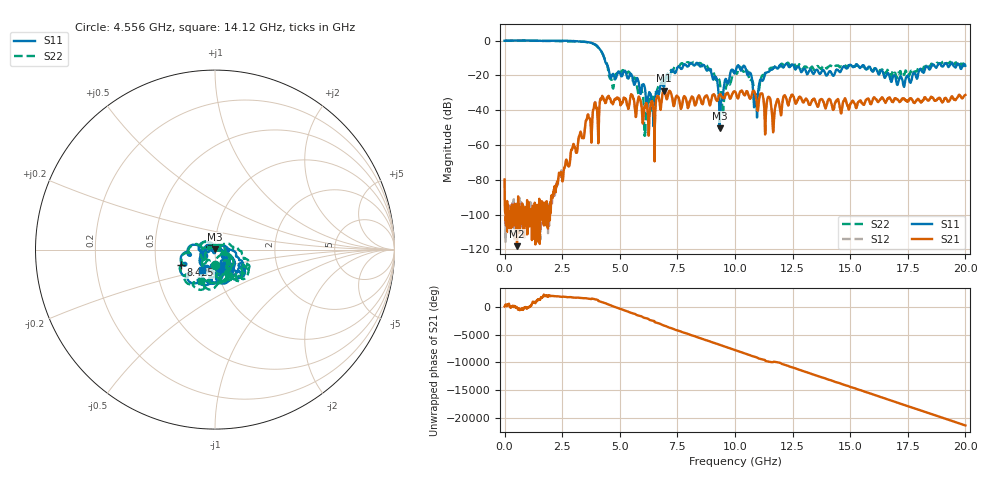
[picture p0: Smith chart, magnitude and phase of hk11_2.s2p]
#  HZ  S  RI  R  50.00
! Rohde & Schwarz Vector Network Analyzer
! Rohde-Schwarz,ZNB20-2Port,1311601062102128,3.60
! Created: UTC 4/29/2024, 3:47:03 PM
! freq[Hz]  re:S11  im:S11  re:S21  im:S21  re:S12  im:S12  re:S22  im:S22
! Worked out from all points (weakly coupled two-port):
!   2007 points, 100 kHz to 20 GHz, reference 50 ohm
!   highest |S21| = -28.70 dB at 6.919 GHz (marker M1); lowest = -118.2 dB at 538.5 MHz (marker M2)
!   lowest |S11| = -50.5 dB at 9.332 GHz (marker M3), VSWR 1.01, Z = 49.8 + j0.214 ohm
!   |S11| at or under -10 dB: 4.327 GHz to end of sweep
!   |S22| runs from -55.0 to 0.1 dB; largest |S21 - S12| = 0.0019
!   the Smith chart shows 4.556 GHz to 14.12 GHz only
!   S11 on the Smith chart (normalised r, x): 4.556 GHz: 1.04, -0.21; 8.425 GHz: 0.67, -0.12; 14.12 GHz: 0.85, -0.19
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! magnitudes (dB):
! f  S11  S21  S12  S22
! 100 kHz  0.0  -79.8  -79.8  0.1
! 538.5 MHz  0.0  -118.2  -105.0  0.0
! 2.263 GHz  0.0  -82.7  -82.4  -0.3
! 3.34 GHz  -0.6  -55.2  -54.9  -0.6
! 4.118 GHz  -4.7  -37.2  -37.4  -4.6
! 4.556 GHz  -19.5  -33.0  -33.0  -21.3
! 5.633 GHz  -25.4  -36.0  -35.9  -21.3
! 6.122 GHz  -31.3  -36.3  -36.3  -46.2
! 6.67 GHz  -30.0  -32.0  -31.9  -26.2
! 6.919 GHz  -26.5  -28.7  -28.8  -20.1
! 8.425 GHz  -13.6  -31.7  -31.6  -13.1
! 9.163 GHz  -20.9  -33.3  -33.2  -22.3
! 9.332 GHz  -50.5  -31.0  -30.9  -23.2
! 9.502 GHz  -28.1  -33.0  -33.0  -38.2
! 10 GHz  -18.6  -29.3  -29.3  -17.7
! 10.66 GHz  -18.6  -33.1  -33.1  -23.4
! 10.9 GHz  -34.0  -31.7  -31.7  -34.1
! 11.67 GHz  -15.9  -51.5  -51.4  -15.4
! 13.34 GHz  -17.9  -34.4  -34.4  -14.9
! 14.12 GHz  -17.6  -33.8  -33.9  -14.3
! 16.67 GHz  -19.1  -32.9  -32.9  -18.9
! 20 GHz  -14.5  -31.2  -31.2  -15.2
